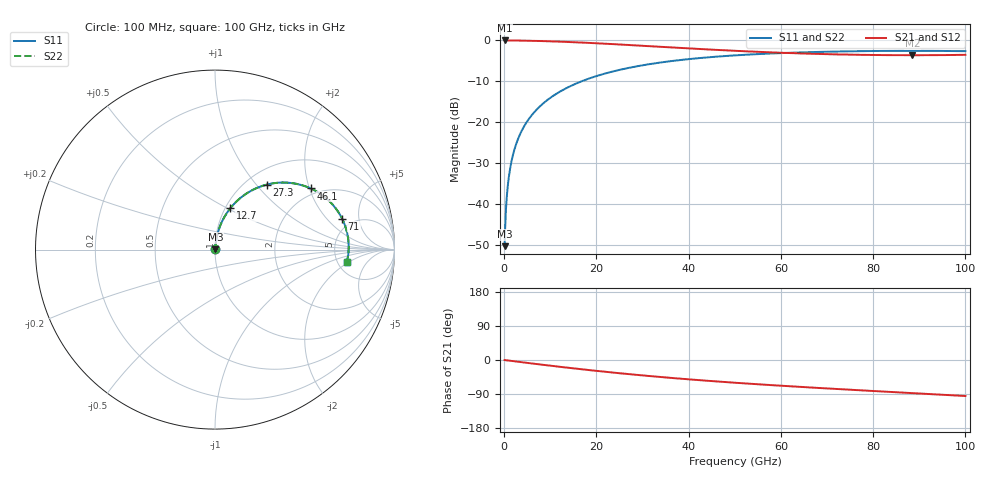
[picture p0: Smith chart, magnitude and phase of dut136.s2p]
! Touchstone file exported from HFSS 2026.1.0
!  File:  C:/ffzhzh/LocalFiles/Ansys_Project_Files/temp_train_RDL_136_1783499673_9504.aedt
!  Generated:  04:35:37 PM Jul  8, 2026
!  Design:  RDL
!  Project:  temp_train_RDL_136_1783499673_9504
! Variables:
!  h_bsmrdl = 2um
!  h_ox = 20um
!  h_rdl = 5um
!  h_sub = 80um
!  h_tmrdl = 4.85um
!  h_tsv = 80um
!  h_via = 3um
!  l_bsmrdl = 300um
!  l_sub = 709.84um
!  l_tmrdl = 309.84um
!  m_sub = 200um
!  pitch = 59.31um
!  r_tsv = 6um
!  s_tmrdl = 10um
!  w_bsmrdl = 18um
!  w_sub = 500um
!  w_tmrdl = 10.68um
!  x_tsv_center1 = 315.18um
!  x_tsv_center2 = 633.18um
!  x_tsv_center3 = 953.7um
!  x_tsv_center4 = 1271.7um
!  x_tsv_center5 = 1592.22um
!  x_tsv_center6 = 1910.22um
# GHz S MA R 50.000000
! Terminal data exported
! Port[1] = TM_RDL1_1_T1
! Port[2] = TM_RDL1_1_T2
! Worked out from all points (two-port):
!   1000 points, 100 MHz to 100 GHz, reference 50 ohm
!   highest |S21| = -0.02 dB at 100 MHz (marker M1); lowest = -3.6 dB at 88.5 GHz (marker M2)
!   |S21| within 3 dB of the highest: start of sweep to 59.88 GHz
!   lowest |S11| = -50.3 dB at 100 MHz (marker M3), VSWR 1.01, Z = 50.2 + j0.214 ohm
!   |S11| at or under -10 dB: start of sweep to 16.79 GHz
!   |S22| runs from -50.3 to -2.6 dB; largest |S21 - S12| = 4.6e-15
!   S11 on the Smith chart (normalised r, x): 100 MHz: 1.00, +0.00; 12.7 GHz: 1.06, +0.52; 27.3 GHz: 1.24, +1.14; 46.1 GHz: 1.80, +2.04; 71 GHz: 4.08, +3.00; 100 GHz: 6.07, -1.82
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0.1  0.003055 44.1  0.9978 -0.2  0.9978 -0.2  0.003055 44.1
! Gamma 0 0 0 0
! Port Impedance 50 0 50 0
0.4  0.008762 74.2  0.9977 -0.6  0.9977 -0.6  0.008762 74.2
0.8  0.01694 80.6  0.9974 -1.2  0.9974 -1.2  0.01694 80.6
1.2  0.02518 82.4  0.9972 -1.9  0.9972 -1.9  0.02518 82.4
1.6  0.03343 83.0  0.9968 -2.5  0.9968 -2.5  0.03343 83.0
2  0.04167 83.1  0.9964 -3.1  0.9964 -3.1  0.04167 83.1
3.2  0.06624 82.3  0.9946 -4.9  0.9946 -4.9  0.06624 82.3
4.8  0.09848 80.3  0.9912 -7.4  0.9912 -7.4  0.09848 80.4
6.9  0.1397 77.5  0.9853 -10.5  0.9853 -10.5  0.1397 77.5
9.5  0.1891 73.9  0.9761 -14.3  0.9761 -14.3  0.1891 73.9
12.7  0.2471 69.6  0.9621 -18.8  0.9621 -18.8  0.2471 69.6
16.8  0.3163 64.1  0.9409 -24.5  0.9409 -24.5  0.3163 64.1
21.6  0.3895 58.0  0.9126 -30.7  0.9126 -30.7  0.3895 58.1
27.3  0.4647 51.3  0.8765 -37.6  0.8765 -37.6  0.4647 51.3
33.4  0.5317 44.6  0.8377 -44.4  0.8377 -44.4  0.5317 44.7
46.1  0.633 32.5  0.765 -56.6  0.765 -56.6  0.6329 32.6
50.1  0.6561 29.2  0.7456 -60.1  0.7456 -60.1  0.6561 29.2
66.7  0.7193 16.6  0.6861 -72.7  0.6861 -72.7  0.7193 16.7
71  0.7288 13.7  0.6762 -75.7  0.6762 -75.7  0.7288 13.7
83.4  0.7439 5.5  0.66 -84.0  0.66 -84.0  0.7439 5.6
88.5  0.7452 2.2  0.6585 -87.4  0.6585 -87.4  0.7452 2.3
100  0.738 -5.3  0.6661 -95.0  0.6661 -95.0  0.738 -5.2
